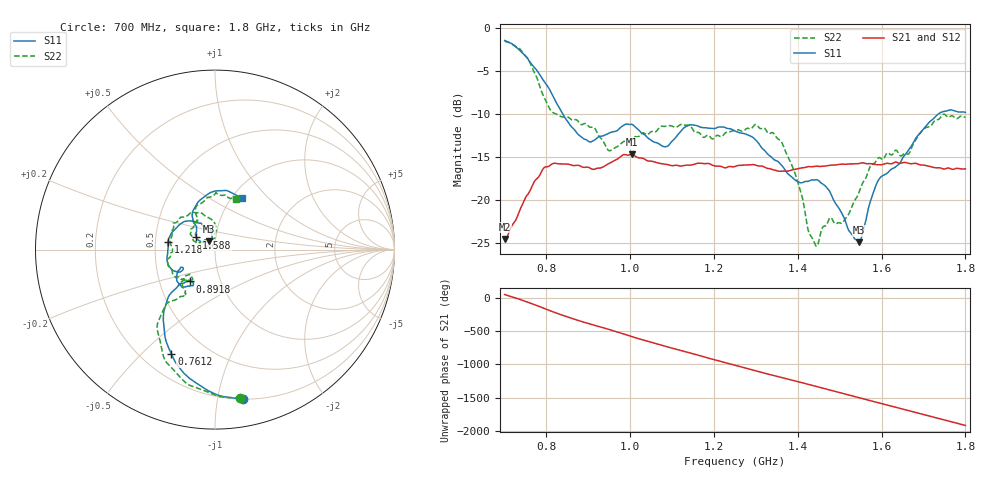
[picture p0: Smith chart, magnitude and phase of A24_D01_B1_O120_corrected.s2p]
! Created with skrf 1.9.0 (http://scikit-rf.org).
# Hz S RI R 50.0
!freq ReS11 ImS11 ReS21 ImS21 ReS12 ImS12 ReS22 ImS22
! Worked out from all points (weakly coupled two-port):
!   1601 points, 700 MHz to 1.8 GHz, reference 50 ohm
!   highest |S21| = -14.67 dB at 1.003 GHz (marker M1); lowest = -24.5 dB at 700 MHz (marker M2)
!   lowest |S11| = -24.9 dB at 1.546 GHz (marker M3), VSWR 1.12, Z = 46.5 + j4.25 ohm
!   |S11| at or under -10 dB: 839.1 MHz to 1.735 GHz (895.5 MHz wide, 69.6 % of centre)
!   |S22| runs from -25.3 to -1.5 dB; largest |S21 - S12| = 0.0036
!   S11 on the Smith chart (normalised r, x): 700 MHz: 0.20, -1.19; 761.2 MHz: 0.32, -0.62; 891.8 MHz: 0.71, -0.27; 1.218 GHz: 0.58, +0.06; 1.588 GHz: 0.80, +0.11; 1.8 GHz: 1.12, +0.71
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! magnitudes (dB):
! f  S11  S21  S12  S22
! 700 MHz  -1.4  -24.5  -24.3  -1.5
! 761.2 MHz  -4.0  -18.8  -18.7  -4.1
! 811.4 MHz  -7.5  -15.8  -15.8  -9.6
! 883.6 MHz  -12.7  -16.1  -16.0  -11.2
! 891.8 MHz  -12.9  -16.2  -16.2  -11.1
! 949.6 MHz  -12.2  -15.7  -15.7  -14.2
! 1.003 GHz  -11.2  -14.7  -14.8  -12.9
! 1.067 GHz  -13.4  -15.7  -15.6  -11.7
! 1.141 GHz  -11.3  -15.9  -15.9  -11.3
! 1.218 GHz  -11.5  -16.1  -16.1  -12.6
! 1.25 GHz  -12.0  -16.1  -16.0  -11.8
! 1.3 GHz  -13.0  -15.9  -15.9  -11.2
! 1.36 GHz  -15.9  -16.6  -16.6  -13.2
! 1.396 GHz  -17.7  -16.4  -16.4  -17.2
! 1.434 GHz  -17.6  -16.1  -16.1  -24.3
! 1.508 GHz  -21.8  -15.8  -15.8  -22.5
! 1.546 GHz  -24.9  -15.7  -15.7  -19.1
! 1.588 GHz  -18.1  -15.9  -15.9  -15.4
! 1.617 GHz  -16.7  -15.7  -15.7  -14.5
! 1.664 GHz  -14.2  -15.7  -15.7  -14.6
! 1.735 GHz  -10.0  -16.2  -16.3  -10.6
! 1.8 GHz  -9.8  -16.3  -16.3  -10.4
